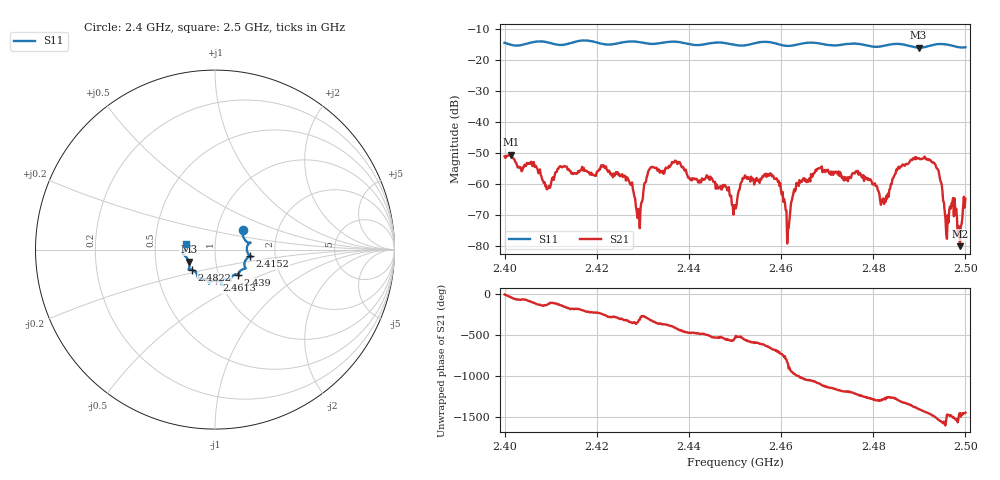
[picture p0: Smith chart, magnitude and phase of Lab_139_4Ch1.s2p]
# Hz S RI R 50
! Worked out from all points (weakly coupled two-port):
!   601 points, 2.4 GHz to 2.5 GHz, reference 50 ohm
!   highest |S21| = -50.48 dB at 2.4013 GHz (marker M1); lowest = -80.0 dB at 2.4988 GHz (marker M2)
!   lowest |S11| = -15.9 dB at 2.4898 GHz (marker M3), VSWR 1.38, Z = 37 - j5.05 ohm
!   |S11| at or under -10 dB: start of sweep to end of sweep
!   S12 and S22 are empty: the file has one direction only
!   S11 on the Smith chart (normalised r, x): 2.4 GHz: 1.33, +0.31; 2.4152 GHz: 1.48, -0.11; 2.439 GHz: 1.24, -0.36; 2.4613 GHz: 0.96, -0.34; 2.4822 GHz: 0.76, -0.17; 2.5 GHz: 0.72, +0.05
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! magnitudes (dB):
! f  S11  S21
! 2.4 GHz  -14.3  -51.0
! 2.4013 GHz  -15.0  -50.5
! 2.4093 GHz  -14.2  -61.4
! 2.4152 GHz  -14.1  -56.5
! 2.4167 GHz  -13.6  -55.3
! 2.4263 GHz  -14.0  -58.8
! 2.429 GHz  -14.1  -68.0
! 2.4333 GHz  -14.5  -55.4
! 2.439 GHz  -14.4  -55.5
! 2.45 GHz  -15.0  -66.7
! 2.452 GHz  -15.2  -57.8
! 2.4577 GHz  -14.2  -56.4
! 2.4613 GHz  -15.4  -79.1
! 2.4667 GHz  -14.3  -57.6
! 2.4767 GHz  -14.7  -55.7
! 2.4822 GHz  -15.4  -64.5
! 2.4833 GHz  -15.0  -64.0
! 2.4898 GHz  -15.9  -51.6
! 2.4937 GHz  -14.8  -54.5
! 2.4958 GHz  -14.9  -75.7
! 2.4988 GHz  -15.8  -80.0
! 2.5 GHz  -15.8  -64.7
